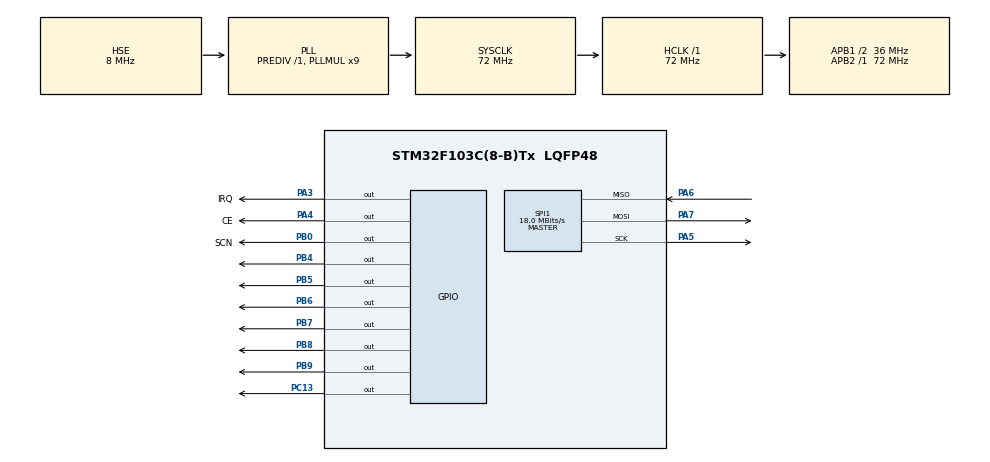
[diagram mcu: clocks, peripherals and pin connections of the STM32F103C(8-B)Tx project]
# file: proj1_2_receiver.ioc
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Mcu.Family=STM32F1
Mcu.Name=STM32F103C(8-B)Tx
Mcu.Package=LQFP48
NVIC.PriorityGroup=NVIC_PRIORITYGROUP_4
PA13.Mode=Trace_Asynchronous_SW
PA13.Signal=SYS_JTMS-SWDIO
PA14.Mode=Trace_Asynchronous_SW
PA14.Signal=SYS_JTCK-SWCLK
PA3.GPIO_Label=IRQ
PA3.Signal=GPIO_Output
PA4.GPIO_Label=CE
PA4.Signal=GPIO_Output
PA5.Mode=Full_Duplex_Master
PA5.Signal=SPI1_SCK
PA6.Mode=Full_Duplex_Master
PA6.Signal=SPI1_MISO
PA7.Mode=Full_Duplex_Master
PA7.Signal=SPI1_MOSI
PB0.GPIO_Label=SCN
PB0.Signal=GPIO_Output
PB3.Mode=Trace_Asynchronous_SW
PB3.Signal=SYS_JTDO-TRACESWO
PB4.Signal=GPIO_Output
PB5.Signal=GPIO_Output
PB6.Signal=GPIO_Output
PB7.Signal=GPIO_Output
PB8.Signal=GPIO_Output
PB9.Signal=GPIO_Output
PC13-TAMPER-RTC.Signal=GPIO_Output
PD0-OSC_IN.Mode=HSE-External-Oscillator
PD0-OSC_IN.Signal=RCC_OSC_IN
PD1-OSC_OUT.Mode=HSE-External-Oscillator
PD1-OSC_OUT.Signal=RCC_OSC_OUT
ProjectManager.HeapSize=0x200
ProjectManager.StackSize=0x400
ProjectManager.TargetToolchain=STM32CubeIDE
RCC.AHBFreq_Value=72000000
RCC.APB1CLKDivider=RCC_HCLK_DIV2
RCC.APB1Freq_Value=36000000
RCC.APB1TimFreq_Value=72000000
RCC.APB2Freq_Value=72000000
RCC.APB2TimFreq_Value=72000000
RCC.HCLKFreq_Value=72000000
RCC.PLLMUL=RCC_PLL_MUL9
RCC.PLLSourceVirtual=RCC_PLLSOURCE_HSE
RCC.SYSCLKFreq_VALUE=72000000
RCC.SYSCLKSource=RCC_SYSCLKSOURCE_PLLCLK
RCC.USBFreq_Value=72000000
SPI1.BaudRatePrescaler=SPI_BAUDRATEPRESCALER_4
SPI1.CalculateBaudRate=18.0 MBits/s
SPI1.Direction=SPI_DIRECTION_2LINES
SPI1.Mode=SPI_MODE_MASTER
SPI1.VirtualType=VM_MASTER
board=custom

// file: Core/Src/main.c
/* USER CODE BEGIN Header */
/**
  ******************************************************************************
  * @file           : main.c
  * @brief          : Main program body
  ******************************************************************************
  * @attention
  *
  * <h2><center>&copy; Copyright (c) 2024 STMicroelectronics.
  * All rights reserved.</center></h2>
  *
  * This software component is licensed by ST under BSD 3-Clause license,
  * the "License"; You may not use this file except in compliance with the
  * License. You may obtain a copy of the License at:
  *                        opensource.org/licenses/BSD-3-Clause
  *
  ******************************************************************************
  */
/* USER CODE END Header */
#include "main.h"
#include "spi.h"
#include "gpio.h"

/* USER CODE BEGIN PV */

#define CONFIG_REG_ADDR 0x00

/* USER CODE END PV */

void SystemClock_Config(void);

/* USER CODE BEGIN 0 */
char str[100];
char str2[100];
/* USER CODE END 0 */

int main(void)
{

  /* MCU Configuration--------------------------------------------------------*/

  /* Reset of all peripherals, Initializes the Flash interface and the Systick. */
  HAL_Init();

  /* USER CODE BEGIN Init */

     uint8_t conf_adr = 0x00;
     uint8_t reg_addr = conf_adr | 0x00 ;
     uint8_t reg_config ;
     uint8_t reg_status;
     uint8_t dummy ;

  /* USER CODE END Init */

  /* Configure the system clock */
  SystemClock_Config();

  /* Initialize all configured peripherals */
  MX_GPIO_Init();
  MX_SPI1_Init();
  /* USER CODE BEGIN 2 */

  LCD_Init();
  LCD_Clear();

   //LCD_Write_String("Hello World");

   nrf24l01p_reset();

   HAL_GPIO_WritePin(GPIOB, GPIO_PIN_0, GPIO_PIN_RESET);
   HAL_GPIO_WritePin(GPIOA, GPIO_PIN_4, GPIO_PIN_SET);
   HAL_SPI_TransmitReceive(&hspi1, &reg_addr, &reg_status, 1, HAL_MAX_DELAY);

  LCD_Set_Cursor(1, 1);
  sprintf(str, "%d", reg_status);
  LCD_Write_String(str);
  HAL_Delay(1000);

  //HAL_GPIO_WritePin(GPIOB, GPIO_PIN_0, GPIO_PIN_SET);
 // HAL_GPIO_WritePin(GPIOB, GPIO_PIN_0, GPIO_PIN_RESET);

  HAL_SPI_TransmitReceive(&hspi1, &dummy, &reg_config, 1, HAL_MAX_DELAY);

   LCD_Set_Cursor(2, 1);
   sprintf(str2, "%d", reg_config);
   LCD_Write_String(str2);
   HAL_Delay(1000);

   HAL_GPIO_WritePin(GPIOB, GPIO_PIN_0, GPIO_PIN_SET);

  /* USER CODE END 2 */

  /* Infinite loop */
  while (1)
  {

  }
}

void SystemClock_Config(void)
{
  RCC_OscInitTypeDef RCC_OscInitStruct = {0};
  RCC_ClkInitTypeDef RCC_ClkInitStruct = {0};

  /** Initializes the RCC Oscillators according to the specified parameters
  * in the RCC_OscInitTypeDef structure.
  */
  RCC_OscInitStruct.OscillatorType = RCC_OSCILLATORTYPE_HSE;
  RCC_OscInitStruct.HSEState = RCC_HSE_ON;
  RCC_OscInitStruct.HSEPredivValue = RCC_HSE_PREDIV_DIV1;
  RCC_OscInitStruct.HSIState = RCC_HSI_ON;
  RCC_OscInitStruct.PLL.PLLState = RCC_PLL_ON;
  RCC_OscInitStruct.PLL.PLLSource = RCC_PLLSOURCE_HSE;
  RCC_OscInitStruct.PLL.PLLMUL = RCC_PLL_MUL9;
  if (HAL_RCC_OscConfig(&RCC_OscInitStruct) != HAL_OK)
  {
    Error_Handler();
  }
  /** Initializes the CPU, AHB and APB buses clocks
  */
  RCC_ClkInitStruct.ClockType = RCC_CLOCKTYPE_HCLK|RCC_CLOCKTYPE_SYSCLK
                              |RCC_CLOCKTYPE_PCLK1|RCC_CLOCKTYPE_PCLK2;
  RCC_ClkInitStruct.SYSCLKSource = RCC_SYSCLKSOURCE_PLLCLK;
  RCC_ClkInitStruct.AHBCLKDivider = RCC_SYSCLK_DIV1;
  RCC_ClkInitStruct.APB1CLKDivider = RCC_HCLK_DIV2;
  RCC_ClkInitStruct.APB2CLKDivider = RCC_HCLK_DIV1;

  if (HAL_RCC_ClockConfig(&RCC_ClkInitStruct, FLASH_LATENCY_2) != HAL_OK)
  {
    Error_Handler();
  }
}

void Error_Handler(void)
{
  __disable_irq();
  while (1)
  {
  }
}

/************************ (C) COPYRIGHT STMicroelectronics *****END OF FILE****/
